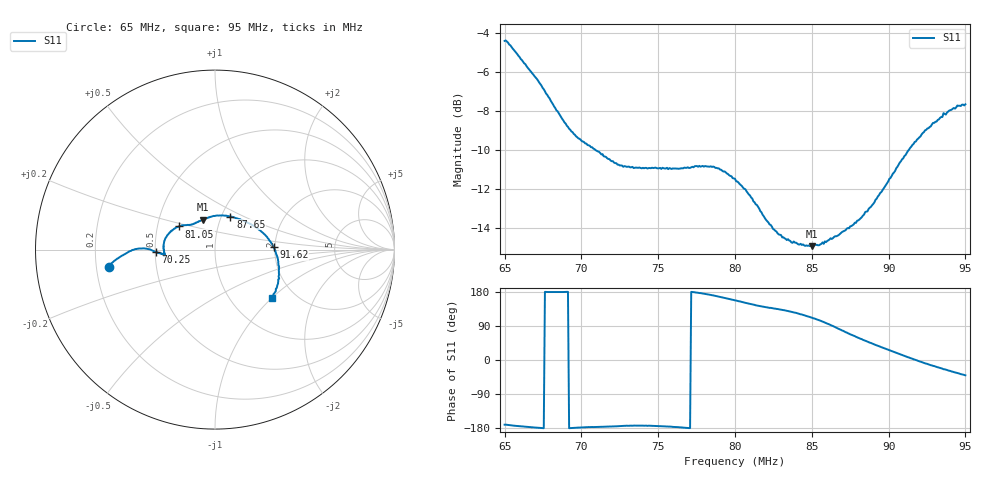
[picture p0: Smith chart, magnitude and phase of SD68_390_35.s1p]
! NanoVNA-App
! Date: 2025-08-02 15:54:08
! Start: 65MHz Stop: 95MHz Points: 401
! S-Parameter data: F S11
# Hz S RI R 50
!  Frequency  S11_Real  S11_Imag
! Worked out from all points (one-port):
!   401 points, 65 MHz to 95 MHz, reference 50 ohm
!   lowest |S11| = -14.9 dB at 85.03 MHz (marker M1), VSWR 1.44, Z = 41.6 + j14.3 ohm
!   |S11| at or under -10 dB: 70.91 MHz to 91.32 MHz (20.41 MHz wide, 25.2 % of centre)
!   S11 on the Smith chart (normalised r, x): 65 MHz: 0.25, -0.08; 70.25 MHz: 0.51, -0.02; 81.05 MHz: 0.65, +0.18; 87.65 MHz: 1.10, +0.42; 91.62 MHz: 1.97, +0.05; 95 MHz: 1.53, -0.99
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6.5e7  -0.5933 -0.0968
6.605e7  -0.5381 -0.0478
6.7325e7  -0.4664 -0.00643
6.875e7  -0.3797 0.00454
6.95e7  -0.3475 -0.00534
7.025e7  -0.3281 -0.0145
7.25e7  -0.2871 -0.0283
7.4075e7  -0.2819 -0.0325
7.625e7  -0.2829 -0.0143
7.7225e7  -0.2863 0.00251
7.85e7  -0.2825 0.045
8e7  -0.2462 0.103
8.105e7  -0.2012 0.1289
8.2625e7  -0.14 0.1376
8.375e7  -0.1083 0.1474
8.5025e7  -0.0657 0.1669
8.6375e7  0.000828 0.188
8.75e7  0.0762 0.1866
8.765e7  0.0855 0.184
8.8775e7  0.157 0.1611
8.975e7  0.2192 0.1294
9.05e7  0.2686 0.0921
9.125e7  0.3113 0.0406
9.1625e7  0.3273 0.0124
9.2375e7  0.3509 -0.0541
9.35e7  0.354 -0.1483
9.41e7  0.3462 -0.2019
9.5e7  0.3148 -0.2685
